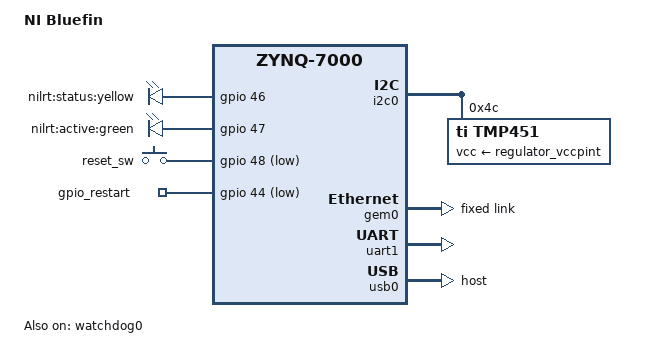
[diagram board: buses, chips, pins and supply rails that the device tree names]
/dts-v1/;
/include/ "ni-zynq.dtsi"

/* NIDEVCODE 78C7 */
/* NIDEVCODE 78B9 */

/ {
	model = "NI Bluefin";
	compatible = "ni,zynq", "xlnx,zynq-7000";

	amba@0 {
		i2c0: i2c@e0004000 {
			/* Override ni-zynq.dtsi; we do not have a CPLD at 0x40. */
			nicpld@40 {
				status = "disabled";
			};

			tmp451@4C {
				compatible = "ti,tmp451";
				reg = <0x4C>;
				vcc-supply = <&regulator_vccpint>;
			};
		};
	};

	leds {
		compatible = "gpio-leds";

		/* LED_STATUSy on GPIO46 */
		status {
			label = "nilrt:status:yellow";
			gpios = <&gpio 46 0>;
			default-state = "on";
		};

		/* LED_ACTIVEg on GPIO47 */
		active {
			label = "nilrt:active:green";
			gpios = <&gpio 47 0>;
			default-state = "off";
		};
	};

	gpio_keys {
		compatible = "gpio-keys";
		#address-cells = <1>;
		#size-cells = <0>;

		/* Reset switch is on GPIO48 */
		reset_sw@0 {
			label = "reset_sw";
			gpios = <&gpio 48 1 /* GPIO_ACTIVE_LOW */>;
			linux,code = <408>; /* KEY_RESTART */
			gpio-key,wakeup;
		};
	};

	gpio_restart {
		compatible = "gpio-restart";

		/* ~PS_FORCE_RESET is on GPIO44 */
		gpios = <&gpio 44 1 /* GPIO_ACTIVE_LOW */>;
		priority = <200>;
	};

	dsa@0 {
		compatible = "marvell,dsa";
		#address-cells = <2>;
		#size-cells = <0>;

		dsa,ethernet = <&gem0>;
		dsa,mii-bus = <&gem0>;

		switch@0 {
			#address-cells = <1>;
			#size-cells = <0>;
			/* MDIO addr 0x0 (single-chip addressing), switch 0 */
			reg = <0 0>;

			port@0 {
				reg = <0x0>;
				label = "cpu";
			};

			port@1 {
				reg = <0x1>;
				label = "sw0";
				/* phy-handle = <&swport1>; */
			};

			port@2 {
				reg = <0x2>;
				label = "sw1";
				/* phy-handle = <&swport2>; */
			};
		};
	};
};

&gem0 {
	status = "okay";
	emio-speed-gpios = <0>,
			   <&gpio 54 0>;

	#address-cells = <0x1>;
	#size-cells = <0x0>;

	fixed-link {
		speed = <1000>;
		full-duplex;
		reg = <0>;
	};
};

&uart1 {
	status = "okay";
};

&usb0 {
	status = "okay";
	dr_mode = "host";
};

&watchdog0 {
	status = "okay";
	reset-on-timeout;
};
